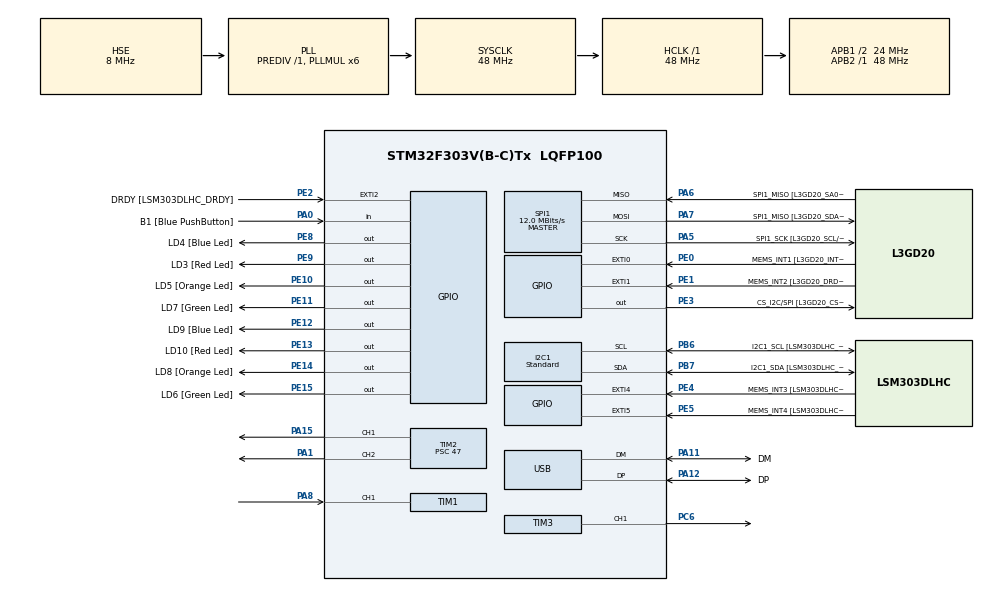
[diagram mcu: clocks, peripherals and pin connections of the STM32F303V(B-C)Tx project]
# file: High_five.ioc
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I2C1.I2C_Speed_Mode=I2C_Standard
I2C1.Speed=100
I2C1.Timing-I2C=0x2000090E
Mcu.Family=STM32F3
Mcu.Name=STM32F303V(B-C)Tx
Mcu.Package=LQFP100
NVIC.PriorityGroup=NVIC_PRIORITYGROUP_0
NVIC.TIM1_CC_IRQn=true\:0\:0\:false\:false\:true\:true\:true\:true
NVIC.TIM2_IRQn=true\:0\:0\:false\:false\:true\:true\:true\:true
PA0.GPIO_Label=B1 [Blue PushButton]
PA0.Signal=GPIO_Input
PA1.Signal=S_TIM2_CH2
PA11.GPIO_Label=DM
PA11.Mode=Device
PA11.Signal=USB_DM
PA12.GPIO_Label=DP
PA12.Mode=Device
PA12.Signal=USB_DP
PA13.GPIO_Label=SWDIO
PA13.Mode=Serial_Wire
PA13.Signal=SYS_JTMS-SWDIO
PA14.GPIO_Label=SWCLK
PA14.Mode=Serial_Wire
PA14.Signal=SYS_JTCK-SWCLK
PA15.Signal=S_TIM2_CH1_ETR
PA5.GPIO_Label=SPI1_SCK [L3GD20_SCL/SPC]
PA5.Mode=Full_Duplex_Master
PA5.Signal=SPI1_SCK
PA6.GPIO_Label=SPI1_MISO [L3GD20_SA0/SDO]
PA6.Mode=Full_Duplex_Master
PA6.Signal=SPI1_MISO
PA7.GPIO_Label=SPI1_MISO [L3GD20_SDA/SDI/SDO]
PA7.Mode=Full_Duplex_Master
PA7.Signal=SPI1_MOSI
PA8.Signal=S_TIM1_CH1
PB3.GPIO_Label=SWO
PB3.Signal=SYS_JTDO-TRACESWO
PB6.GPIO_Label=I2C1_SCL [LSM303DLHC_SCL]
PB6.GPIO_Pu=GPIO_PULLUP
PB6.Mode=I2C
PB6.Signal=I2C1_SCL
PB7.GPIO_Label=I2C1_SDA [LSM303DLHC_SDA]
PB7.GPIO_Pu=GPIO_PULLUP
PB7.Mode=I2C
PB7.Signal=I2C1_SDA
PC14-OSC32_IN.GPIO_Label=OSC32_IN
PC14-OSC32_IN.Signal=RCC_OSC32_IN
PC15-OSC32_OUT.GPIO_Label=OSC32_OUT
PC15-OSC32_OUT.Signal=RCC_OSC32_OUT
PC6.Signal=S_TIM3_CH1
PE0.GPIO_Label=MEMS_INT1 [L3GD20_INT1]
PE0.GPIO_ModeDefaultEXTI=GPIO_MODE_EVT_RISING
PE0.Signal=GPXTI0
PE1.GPIO_Label=MEMS_INT2 [L3GD20_DRDY/INT2]
PE1.GPIO_ModeDefaultEXTI=GPIO_MODE_EVT_RISING
PE1.Signal=GPXTI1
PE10.GPIO_Label=LD5 [Orange Led]
PE10.Signal=GPIO_Output
PE11.GPIO_Label=LD7 [Green Led]
PE11.Signal=GPIO_Output
PE12.GPIO_Label=LD9 [Blue Led]
PE12.Signal=GPIO_Output
PE13.GPIO_Label=LD10 [Red Led]
PE13.Signal=GPIO_Output
PE14.GPIO_Label=LD8 [Orange Led]
PE14.Signal=GPIO_Output
PE15.GPIO_Label=LD6 [Green Led]
PE15.Signal=GPIO_Output
PE2.GPIO_Label=DRDY [LSM303DLHC_DRDY]
PE2.GPIO_ModeDefaultEXTI=GPIO_MODE_EVT_RISING
PE2.Signal=GPXTI2
PE3.GPIO_Label=CS_I2C/SPI [L3GD20_CS_I2C/SPI]
PE3.Signal=GPIO_Output
PE4.GPIO_Label=MEMS_INT3 [LSM303DLHC_INT1]
PE4.GPIO_ModeDefaultEXTI=GPIO_MODE_EVT_RISING
PE4.Signal=GPXTI4
PE5.GPIO_Label=MEMS_INT4 [LSM303DLHC_INT2]
PE5.GPIO_ModeDefaultEXTI=GPIO_MODE_EVT_RISING
PE5.Signal=GPXTI5
PE8.GPIO_Label=LD4 [Blue Led]
PE8.Signal=GPIO_Output
PE9.GPIO_Label=LD3 [Red Led]
PE9.Signal=GPIO_Output
PF0-OSC_IN.GPIO_Label=OSC_IN
PF0-OSC_IN.Mode=HSE-External-Clock-Source
PF0-OSC_IN.Signal=RCC_OSC_IN
PF1-OSC_OUT.GPIO_Label=OSC_OUT
PF1-OSC_OUT.Signal=RCC_OSC_OUT
ProjectManager.HeapSize=0x200
ProjectManager.StackSize=0x400
ProjectManager.TargetToolchain=STM32CubeIDE
RCC.AHBFreq_Value=48000000
RCC.APB1CLKDivider=RCC_HCLK_DIV2
RCC.APB1Freq_Value=24000000
RCC.APB1TimFreq_Value=48000000
RCC.APB2Freq_Value=48000000
RCC.APB2TimFreq_Value=48000000
RCC.CortexFreq_Value=48000000
RCC.HCLKFreq_Value=48000000
RCC.HSE_VALUE=8000000
RCC.HSI_VALUE=8000000
RCC.LSE_VALUE=32768
RCC.PLLMUL=RCC_PLL_MUL6
RCC.SYSCLKFreq_VALUE=48000000
RCC.SYSCLKSourceVirtual=RCC_SYSCLKSOURCE_PLLCLK
RCC.USBFreq_Value=48000000
SH.S_TIM1_CH1.0=TIM1_CH1,Input_Capture1_from_TI1
SH.S_TIM2_CH1_ETR.0=TIM2_CH1,PWM Generation1 CH1
SH.S_TIM2_CH2.0=TIM2_CH2,PWM Generation2 CH2
SH.S_TIM3_CH1.0=TIM3_CH1,Output Compare1 CH1
SPI1.BaudRatePrescaler=SPI_BAUDRATEPRESCALER_4
SPI1.BaudRatePrescaler-Full_Duplex_Master=SPI_BAUDRATEPRESCALER_2
SPI1.CalculateBaudRate=12.0 MBits/s
SPI1.CalculateBaudRate-Full_Duplex_Master=24.0 MBits/s
SPI1.Direction=SPI_DIRECTION_2LINES
SPI1.Mode=SPI_MODE_MASTER
SPI1.Mode-Full_Duplex_Master=SPI_MODE_MASTER
SPI1.VirtualType=VM_MASTER
TIM1.Channel-Input_Capture1_from_TI1=TIM_CHANNEL_1
TIM1.ICPolarity_CH1=TIM_INPUTCHANNELPOLARITY_BOTHEDGE
TIM1.Prescaler=47
TIM2.AutoReloadPreload=TIM_AUTORELOAD_PRELOAD_ENABLE
TIM2.Channel-PWM\ Generation1\ CH1=TIM_CHANNEL_1
TIM2.Channel-PWM\ Generation2\ CH2=TIM_CHANNEL_2
TIM2.Period=20000
TIM2.Prescaler=47
TIM2.Pulse-PWM\ Generation1\ CH1=2000
TIM2.Pulse-PWM\ Generation2\ CH2=2000
TIM3.Channel-Output\ Compare1\ CH1=TIM_CHANNEL_1
TIM3.OCMode_1=TIM_OCMODE_TOGGLE
TIM3.Period=47999
TIM3.Prescaler=47
VP_TIM1_VS_ClockSourceINT.Mode=Internal
VP_TIM3_VS_ClockSourceINT.Mode=Internal
board=STM32F3DISCOVERY

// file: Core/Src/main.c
/* USER CODE BEGIN Header */
/**
 ******************************************************************************
 * @file           : main.c
 * @brief          : Main program body
 ******************************************************************************
 * @attention
 *
 * Copyright (c) 2023 STMicroelectronics.
 * All rights reserved.
 *
 * This software is licensed under terms that can be found in the LICENSE file
 * in the root directory of this software component.
 * If no LICENSE file comes with this software, it is provided AS-IS.
 *
 ******************************************************************************
 */
/* USER CODE END Header */
#include "main.h"

/* USER CODE BEGIN Includes */

#include "ptu_definitions.h"
#include "ptu_i2c.h"
#include "serial.h"
#include "last_period.h"
#include "math.h"
#include "movement.h"
#include "highfive.h"

/* USER CODE END Includes */

I2C_HandleTypeDef hi2c1;

SPI_HandleTypeDef hspi1;

TIM_HandleTypeDef htim1;
TIM_HandleTypeDef htim2;
TIM_HandleTypeDef htim3;

PCD_HandleTypeDef hpcd_USB_FS;

/* USER CODE BEGIN PV */
//led_register = ((uint8_t*)&(GPIOE->ODR)) + 1;
/* USER CODE END PV */

void SystemClock_Config(void);
static void MX_GPIO_Init(void);
static void MX_I2C1_Init(void);
static void MX_SPI1_Init(void);
static void MX_USB_PCD_Init(void);
static void MX_TIM2_Init(void);
static void MX_TIM1_Init(void);
static void MX_TIM3_Init(void);

/* USER CODE BEGIN 0 */

// enable the clocks for desired peripherals (GPIOA, C and E)
void enable_clocks() {
	RCC->AHBENR |= RCC_AHBENR_GPIOAEN | RCC_AHBENR_GPIOCEN | RCC_AHBENR_GPIOEEN;
}

// initialise the discovery board I/O (just outputs: inputs are selected by default)
void initialise_board();

uint16_t last_capture = 0;
uint16_t diff = 0;

uint16_t rise_time = 0;
uint16_t last_period = 0;

void HAL_TIM_IC_CaptureCallback(TIM_HandleTypeDef *htim);

float v[2] = {0, 0};

void movement(float v[2], float yaw, float pitch);

uint8_t *led_register = ((uint8_t*)&(GPIOE->ODR)) + 1;

void highfive(uint32_t time,int *x);

volatile uint8_t delayComplete = 0;

void HAL_TIM_OC_DelayElapsedCallback(TIM_HandleTypeDef *htim)
{
    if (htim->Instance == TIM3 && htim->Channel == HAL_TIM_ACTIVE_CHANNEL_1)
    {
        // Set the delay complete flag
        delayComplete = 1;
    }
}

TIM_HandleTypeDef htim; // Declare your timer handle
uint32_t pwmCaptureValue; // Variable to store the captured PWM value

// Function to read PWM input capture value
void readPWMInputCapture()
{
    pwmCaptureValue = HAL_TIM_ReadCapturedValue(&htim, TIM_CHANNEL_1); // Replace X with the appropriate channel number
}

int x = 0;

/* USER CODE END 0 */

int main(void)
{
  /* USER CODE BEGIN 1 */

	uint8_t string_to_send[100] = "This is a string !\r\n";

	enable_clocks();
	initialise_board();

	SerialInitialise(BAUD_115200, &USART1_PORT, 0x00);

	HAL_StatusTypeDef return_value = 0x00;

	volatile uint16_t vertical_PWM = 1000;
	volatile uint16_t horizontal_PWM = 1000;

  /* USER CODE END 1 */

  /* MCU Configuration--------------------------------------------------------*/

  /* Reset of all peripherals, Initializes the Flash interface and the Systick. */
  HAL_Init();

  /* Configure the system clock */
  SystemClock_Config();

  /* Initialize all configured peripherals */
	MX_GPIO_Init();
	MX_I2C1_Init();
	MX_SPI1_Init();
	MX_USB_PCD_Init();
	MX_TIM2_Init();
	MX_TIM1_Init();
	MX_TIM3_Init();
  /* USER CODE BEGIN 2 */

	// All timer are started
	HAL_TIM_PWM_Start(&htim2, TIM_CHANNEL_1);
	HAL_TIM_PWM_Start(&htim2, TIM_CHANNEL_2);

	HAL_TIM_IC_Start_IT(&htim1, TIM_CHANNEL_1);

    HAL_TIM_OC_Start_IT(&htim3, TIM_CHANNEL_1);

	// TIM 2 is setup with a prescaler that makes 1 count = 1 microsecond
	// Even with HAL, you can still set the values yourself
	TIM2->ARR = 20000; // 20000 = 20ms, which is the desired clock period for servos
	TIM2->CR1 |= TIM_CR1_ARPE; // this makes the timing not change until the next pulse is finished

	// note: for PWM if you continually change the clock period
	// you can get unexpected results. To remove this, set ARPE so that the
	// ARR settings are not activated until the next cycle.

	initialise_ptu_i2c(&hi2c1);

  /* USER CODE END 2 */

  /* Infinite loop */
  /* USER CODE BEGIN WHILE */

	// reset lidar board
	uint8_t reset_value = 0x00;
	return_value = HAL_I2C_Mem_Write(&hi2c1, LIDAR_WR, 0x00, 1, &reset_value, 1, 10);

	// delay for initialisation of the lidar
	HAL_Delay(100);

	while (1)
	{
		movement(v, 96, 98);
		HAL_Delay(500);

		// Reading accelerometer values
		uint8_t xMSB = 0x00;
		HAL_I2C_Mem_Read(&hi2c1,gyro_rd, 0x29, 1, &xMSB, 1, 10);
		uint8_t xLSB = 0x00;
		HAL_I2C_Mem_Read(&hi2c1,gyro_rd, 0x28, 1, &xLSB, 1, 10);
		int16_t yaw_rate = ((xMSB << 8) | xLSB);

		uint8_t yMSB = 0x00;
		HAL_I2C_Mem_Read(&hi2c1,gyro_rd, 0x2B, 1, &yMSB, 1, 10);
		uint8_t yLSB = 0x00;
		HAL_I2C_Mem_Read(&hi2c1,gyro_rd, 0x2A, 1, &yLSB, 1, 10);
		int16_t pitch_rate = ((yMSB << 8) | yLSB);

		uint8_t zMSB = 0x00;
		HAL_I2C_Mem_Read(&hi2c1,gyro_rd, 0x2D, 1, &zMSB, 1, 10);
		uint8_t zLSB = 0x00;
		HAL_I2C_Mem_Read(&hi2c1,gyro_rd, 0x2C, 1, &zLSB, 1, 10);
		int16_t roll_rate = ((zMSB << 8) | zLSB);

		uint8_t lidar_value = 0x03;
		return_value = HAL_I2C_Mem_Write(&hi2c1, LIDAR_WR, 0x00, 1, &lidar_value, 1, 100);

		lidar_value = 0xff;

		volatile uint16_t lidar_distance = 0xff;

		uint8_t lidar_ranges = lidar_distance / (100/4); // 100cm broken into 4 groups
		if (lidar_ranges > 3)
			lidar_ranges = 3;

		if (last_period > 4000)
			last_period = 5000;
		if (lidar_distance > 4000)
			lidar_distance = 5500;

		// saving the the timer value for comparison as a constant
		const uint32_t time = __HAL_TIM_GET_COUNTER(&htim3);

		x = 0;
		while (last_period >= 5 && last_period <= 250)
		{

			highfive(time,&x);
		}

		*led_register = 0;
		sprintf(string_to_send, "%u,%u,%u,%hd,%hd,%hd\r\n", last_period, lidar_distance, lidar_ranges,roll_rate, pitch_rate, yaw_rate);

		SerialOutputString(string_to_send, &USART1_PORT);

    /* USER CODE END WHILE */

	}
}

void SystemClock_Config(void)
{
  RCC_OscInitTypeDef RCC_OscInitStruct = {0};
  RCC_ClkInitTypeDef RCC_ClkInitStruct = {0};
  RCC_PeriphCLKInitTypeDef PeriphClkInit = {0};

  /** Initializes the RCC Oscillators according to the specified parameters
  * in the RCC_OscInitTypeDef structure.
  */
  RCC_OscInitStruct.OscillatorType = RCC_OSCILLATORTYPE_HSI|RCC_OSCILLATORTYPE_HSE;
  RCC_OscInitStruct.HSEState = RCC_HSE_BYPASS;
  RCC_OscInitStruct.HSEPredivValue = RCC_HSE_PREDIV_DIV1;
  RCC_OscInitStruct.HSIState = RCC_HSI_ON;
  RCC_OscInitStruct.HSICalibrationValue = RCC_HSICALIBRATION_DEFAULT;
  RCC_OscInitStruct.PLL.PLLState = RCC_PLL_ON;
  RCC_OscInitStruct.PLL.PLLSource = RCC_PLLSOURCE_HSE;
  RCC_OscInitStruct.PLL.PLLMUL = RCC_PLL_MUL6;
  if (HAL_RCC_OscConfig(&RCC_OscInitStruct) != HAL_OK)
  {
    Error_Handler();
  }

  /** Initializes the CPU, AHB and APB buses clocks
  */
  RCC_ClkInitStruct.ClockType = RCC_CLOCKTYPE_HCLK|RCC_CLOCKTYPE_SYSCLK
                              |RCC_CLOCKTYPE_PCLK1|RCC_CLOCKTYPE_PCLK2;
  RCC_ClkInitStruct.SYSCLKSource = RCC_SYSCLKSOURCE_PLLCLK;
  RCC_ClkInitStruct.AHBCLKDivider = RCC_SYSCLK_DIV1;
  RCC_ClkInitStruct.APB1CLKDivider = RCC_HCLK_DIV2;
  RCC_ClkInitStruct.APB2CLKDivider = RCC_HCLK_DIV1;

  if (HAL_RCC_ClockConfig(&RCC_ClkInitStruct, FLASH_LATENCY_1) != HAL_OK)
  {
    Error_Handler();
  }
  PeriphClkInit.PeriphClockSelection = RCC_PERIPHCLK_USB|RCC_PERIPHCLK_I2C1
                              |RCC_PERIPHCLK_TIM1;
  PeriphClkInit.I2c1ClockSelection = RCC_I2C1CLKSOURCE_HSI;
  PeriphClkInit.USBClockSelection = RCC_USBCLKSOURCE_PLL;
  PeriphClkInit.Tim1ClockSelection = RCC_TIM1CLK_HCLK;
  if (HAL_RCCEx_PeriphCLKConfig(&PeriphClkInit) != HAL_OK)
  {
    Error_Handler();
  }
}

static void MX_I2C1_Init(void)
{

  hi2c1.Instance = I2C1;
  hi2c1.Init.Timing = 0x2000090E;
  hi2c1.Init.OwnAddress1 = 0;
  hi2c1.Init.AddressingMode = I2C_ADDRESSINGMODE_7BIT;
  hi2c1.Init.DualAddressMode = I2C_DUALADDRESS_DISABLE;
  hi2c1.Init.OwnAddress2 = 0;
  hi2c1.Init.OwnAddress2Masks = I2C_OA2_NOMASK;
  hi2c1.Init.GeneralCallMode = I2C_GENERALCALL_DISABLE;
  hi2c1.Init.NoStretchMode = I2C_NOSTRETCH_DISABLE;
  if (HAL_I2C_Init(&hi2c1) != HAL_OK)
  {
    Error_Handler();
  }

  /** Configure Analogue filter
  */
  if (HAL_I2CEx_ConfigAnalogFilter(&hi2c1, I2C_ANALOGFILTER_ENABLE) != HAL_OK)
  {
    Error_Handler();
  }

  /** Configure Digital filter
  */
  if (HAL_I2CEx_ConfigDigitalFilter(&hi2c1, 0) != HAL_OK)
  {
    Error_Handler();
  }

}

static void MX_SPI1_Init(void)
{

  /* SPI1 parameter configuration*/
  hspi1.Instance = SPI1;
  hspi1.Init.Mode = SPI_MODE_MASTER;
  hspi1.Init.Direction = SPI_DIRECTION_2LINES;
  hspi1.Init.DataSize = SPI_DATASIZE_4BIT;
  hspi1.Init.CLKPolarity = SPI_POLARITY_LOW;
  hspi1.Init.CLKPhase = SPI_PHASE_1EDGE;
  hspi1.Init.NSS = SPI_NSS_SOFT;
  hspi1.Init.BaudRatePrescaler = SPI_BAUDRATEPRESCALER_4;
  hspi1.Init.FirstBit = SPI_FIRSTBIT_MSB;
  hspi1.Init.TIMode = SPI_TIMODE_DISABLE;
  hspi1.Init.CRCCalculation = SPI_CRCCALCULATION_DISABLE;
  hspi1.Init.CRCPolynomial = 7;
  hspi1.Init.CRCLength = SPI_CRC_LENGTH_DATASIZE;
  hspi1.Init.NSSPMode = SPI_NSS_PULSE_ENABLE;
  if (HAL_SPI_Init(&hspi1) != HAL_OK)
  {
    Error_Handler();
  }

}

static void MX_TIM1_Init(void)
{

  TIM_ClockConfigTypeDef sClockSourceConfig = {0};
  TIM_MasterConfigTypeDef sMasterConfig = {0};
  TIM_IC_InitTypeDef sConfigIC = {0};

  htim1.Instance = TIM1;
  htim1.Init.Prescaler = 47;
  htim1.Init.CounterMode = TIM_COUNTERMODE_UP;
  htim1.Init.Period = 65535;
  htim1.Init.ClockDivision = TIM_CLOCKDIVISION_DIV1;
  htim1.Init.RepetitionCounter = 0;
  htim1.Init.AutoReloadPreload = TIM_AUTORELOAD_PRELOAD_DISABLE;
  if (HAL_TIM_Base_Init(&htim1) != HAL_OK)
  {
    Error_Handler();
  }
  sClockSourceConfig.ClockSource = TIM_CLOCKSOURCE_INTERNAL;
  if (HAL_TIM_ConfigClockSource(&htim1, &sClockSourceConfig) != HAL_OK)
  {
    Error_Handler();
  }
  if (HAL_TIM_IC_Init(&htim1) != HAL_OK)
  {
    Error_Handler();
  }
  sMasterConfig.MasterOutputTrigger = TIM_TRGO_RESET;
  sMasterConfig.MasterOutputTrigger2 = TIM_TRGO2_RESET;
  sMasterConfig.MasterSlaveMode = TIM_MASTERSLAVEMODE_DISABLE;
  if (HAL_TIMEx_MasterConfigSynchronization(&htim1, &sMasterConfig) != HAL_OK)
  {
    Error_Handler();
  }
  sConfigIC.ICPolarity = TIM_INPUTCHANNELPOLARITY_BOTHEDGE;
  sConfigIC.ICSelection = TIM_ICSELECTION_DIRECTTI;
  sConfigIC.ICPrescaler = TIM_ICPSC_DIV1;
  sConfigIC.ICFilter = 0;
  if (HAL_TIM_IC_ConfigChannel(&htim1, &sConfigIC, TIM_CHANNEL_1) != HAL_OK)
  {
    Error_Handler();
  }

}

static void MX_TIM2_Init(void)
{

  TIM_MasterConfigTypeDef sMasterConfig = {0};
  TIM_OC_InitTypeDef sConfigOC = {0};

  htim2.Instance = TIM2;
  htim2.Init.Prescaler = 47;
  htim2.Init.CounterMode = TIM_COUNTERMODE_UP;
  htim2.Init.Period = 20000;
  htim2.Init.ClockDivision = TIM_CLOCKDIVISION_DIV1;
  htim2.Init.AutoReloadPreload = TIM_AUTORELOAD_PRELOAD_ENABLE;
  if (HAL_TIM_PWM_Init(&htim2) != HAL_OK)
  {
    Error_Handler();
  }
  sMasterConfig.MasterOutputTrigger = TIM_TRGO_RESET;
  sMasterConfig.MasterSlaveMode = TIM_MASTERSLAVEMODE_DISABLE;
  if (HAL_TIMEx_MasterConfigSynchronization(&htim2, &sMasterConfig) != HAL_OK)
  {
    Error_Handler();
  }
  sConfigOC.OCMode = TIM_OCMODE_PWM1;
  sConfigOC.Pulse = 2000;
  sConfigOC.OCPolarity = TIM_OCPOLARITY_HIGH;
  sConfigOC.OCFastMode = TIM_OCFAST_DISABLE;
  if (HAL_TIM_PWM_ConfigChannel(&htim2, &sConfigOC, TIM_CHANNEL_1) != HAL_OK)
  {
    Error_Handler();
  }
  if (HAL_TIM_PWM_ConfigChannel(&htim2, &sConfigOC, TIM_CHANNEL_2) != HAL_OK)
  {
    Error_Handler();
  }
  HAL_TIM_MspPostInit(&htim2);

}

static void MX_TIM3_Init(void)
{

  TIM_ClockConfigTypeDef sClockSourceConfig = {0};
  TIM_MasterConfigTypeDef sMasterConfig = {0};
  TIM_OC_InitTypeDef sConfigOC = {0};

  htim3.Instance = TIM3;
  htim3.Init.Prescaler = 48000;
  htim3.Init.CounterMode = TIM_COUNTERMODE_UP;
  htim3.Init.Period = 3000;
  htim3.Init.ClockDivision = TIM_CLOCKDIVISION_DIV1;
  htim3.Init.AutoReloadPreload = TIM_AUTORELOAD_PRELOAD_DISABLE;
  if (HAL_TIM_Base_Init(&htim3) != HAL_OK)
  {
    Error_Handler();
  }
  sClockSourceConfig.ClockSource = TIM_CLOCKSOURCE_INTERNAL;
  if (HAL_TIM_ConfigClockSource(&htim3, &sClockSourceConfig) != HAL_OK)
  {
    Error_Handler();
  }
  if (HAL_TIM_OC_Init(&htim3) != HAL_OK)
  {
    Error_Handler();
  }
  sMasterConfig.MasterOutputTrigger = TIM_TRGO_RESET;
  sMasterConfig.MasterSlaveMode = TIM_MASTERSLAVEMODE_DISABLE;
  if (HAL_TIMEx_MasterConfigSynchronization(&htim3, &sMasterConfig) != HAL_OK)
  {
    Error_Handler();
  }
  sConfigOC.OCMode = TIM_OCMODE_TOGGLE;
  sConfigOC.Pulse = 0;
  sConfigOC.OCPolarity = TIM_OCPOLARITY_HIGH;
  sConfigOC.OCFastMode = TIM_OCFAST_DISABLE;
  if (HAL_TIM_OC_ConfigChannel(&htim3, &sConfigOC, TIM_CHANNEL_1) != HAL_OK)
  {
    Error_Handler();
  }
  HAL_TIM_MspPostInit(&htim3);

}

static void MX_USB_PCD_Init(void)
{

  hpcd_USB_FS.Instance = USB;
  hpcd_USB_FS.Init.dev_endpoints = 8;
  hpcd_USB_FS.Init.speed = PCD_SPEED_FULL;
  hpcd_USB_FS.Init.phy_itface = PCD_PHY_EMBEDDED;
  hpcd_USB_FS.Init.low_power_enable = DISABLE;
  hpcd_USB_FS.Init.battery_charging_enable = DISABLE;
  if (HAL_PCD_Init(&hpcd_USB_FS) != HAL_OK)
  {
    Error_Handler();
  }

}

static void MX_GPIO_Init(void)
{
  GPIO_InitTypeDef GPIO_InitStruct = {0};

  /* GPIO Ports Clock Enable */
  __HAL_RCC_GPIOE_CLK_ENABLE();
  __HAL_RCC_GPIOC_CLK_ENABLE();
  __HAL_RCC_GPIOF_CLK_ENABLE();
  __HAL_RCC_GPIOA_CLK_ENABLE();
  __HAL_RCC_GPIOB_CLK_ENABLE();

  /*Configure GPIO pin Output Level */
  HAL_GPIO_WritePin(GPIOE, CS_I2C_SPI_Pin|LD4_Pin|LD3_Pin|LD5_Pin
                          |LD7_Pin|LD9_Pin|LD10_Pin|LD8_Pin
                          |LD6_Pin, GPIO_PIN_RESET);

  /*Configure GPIO pins : DRDY_Pin MEMS_INT3_Pin MEMS_INT4_Pin MEMS_INT1_Pin
                           MEMS_INT2_Pin */
  GPIO_InitStruct.Pin = DRDY_Pin|MEMS_INT3_Pin|MEMS_INT4_Pin|MEMS_INT1_Pin
                          |MEMS_INT2_Pin;
  GPIO_InitStruct.Mode = GPIO_MODE_EVT_RISING;
  GPIO_InitStruct.Pull = GPIO_NOPULL;
  HAL_GPIO_Init(GPIOE, &GPIO_InitStruct);

  /*Configure GPIO pins : CS_I2C_SPI_Pin LD4_Pin LD3_Pin LD5_Pin
                           LD7_Pin LD9_Pin LD10_Pin LD8_Pin
                           LD6_Pin */
  GPIO_InitStruct.Pin = CS_I2C_SPI_Pin|LD4_Pin|LD3_Pin|LD5_Pin
                          |LD7_Pin|LD9_Pin|LD10_Pin|LD8_Pin
                          |LD6_Pin;
  GPIO_InitStruct.Mode = GPIO_MODE_OUTPUT_PP;
  GPIO_InitStruct.Pull = GPIO_NOPULL;
  GPIO_InitStruct.Speed = GPIO_SPEED_FREQ_LOW;
  HAL_GPIO_Init(GPIOE, &GPIO_InitStruct);

  /*Configure GPIO pin : B1_Pin */
  GPIO_InitStruct.Pin = B1_Pin;
  GPIO_InitStruct.Mode = GPIO_MODE_INPUT;
  GPIO_InitStruct.Pull = GPIO_NOPULL;
  HAL_GPIO_Init(B1_GPIO_Port, &GPIO_InitStruct);

}

void Error_Handler(void)
{
	__disable_irq();
	while (1)
	{
	}
}
